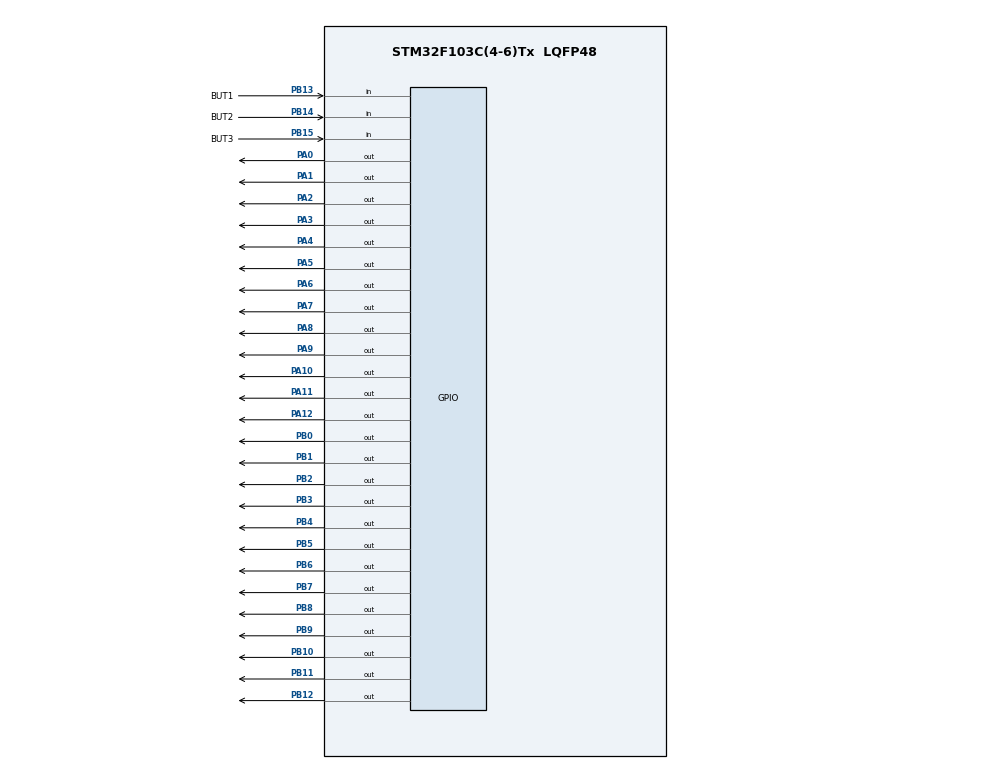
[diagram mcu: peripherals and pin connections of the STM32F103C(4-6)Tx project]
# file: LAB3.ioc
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Mcu.Family=STM32F1
Mcu.Name=STM32F103C(4-6)Tx
Mcu.Package=LQFP48
NVIC.PriorityGroup=NVIC_PRIORITYGROUP_4
NVIC.TIM2_IRQn=true\:0\:0\:false\:false\:true\:true\:true
PA0-WKUP.Signal=GPIO_Output
PA1.Signal=GPIO_Output
PA10.Signal=GPIO_Output
PA11.Signal=GPIO_Output
PA12.Signal=GPIO_Output
PA2.Signal=GPIO_Output
PA3.Signal=GPIO_Output
PA4.Signal=GPIO_Output
PA5.Signal=GPIO_Output
PA6.Signal=GPIO_Output
PA7.Signal=GPIO_Output
PA8.Signal=GPIO_Output
PA9.Signal=GPIO_Output
PB0.Signal=GPIO_Output
PB1.Signal=GPIO_Output
PB10.Signal=GPIO_Output
PB11.Signal=GPIO_Output
PB12.Signal=GPIO_Output
PB13.GPIO_Label=BUT1
PB13.GPIO_PuPd=GPIO_PULLUP
PB13.Signal=GPIO_Input
PB14.GPIO_Label=BUT2
PB14.GPIO_PuPd=GPIO_PULLUP
PB14.Signal=GPIO_Input
PB15.GPIO_Label=BUT3
PB15.GPIO_PuPd=GPIO_PULLUP
PB15.Signal=GPIO_Input
PB2.Signal=GPIO_Output
PB3.Signal=GPIO_Output
PB4.Signal=GPIO_Output
PB5.Signal=GPIO_Output
PB6.Signal=GPIO_Output
PB7.Signal=GPIO_Output
PB8.Signal=GPIO_Output
PB9.Signal=GPIO_Output
ProjectManager.HeapSize=0x200
ProjectManager.StackSize=0x400
ProjectManager.TargetToolchain=STM32CubeIDE
RCC.APB1Freq_Value=8000000
RCC.APB2Freq_Value=8000000
TIM2.Period=9
TIM2.Prescaler=7999
VP_SYS_VS_ND.Mode=No_Debug
VP_TIM2_VS_ClockSourceINT.Mode=Internal
board=custom

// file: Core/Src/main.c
/* USER CODE BEGIN Header */
/**
  ******************************************************************************
  * @file           : main.c
  * @brief          : Main program body
  ******************************************************************************
  */
/* USER CODE END Header */
#include "main.h"
#include "input_reading.h"
#include "input_processing.h"

/* USER CODE BEGIN PD */
/* All defines moved to main.h */
/* USER CODE END PD */

TIM_HandleTypeDef htim2;

/* USER CODE BEGIN PV */
// ---- FSM State Variables ----
extern enum ModeState mode_status; // Now managed by input_processing.c
enum AutoState auto_status = R1_GREEN_R2_RED;

// ---- Traffic Light Durations (in seconds) ----
int time_red = 5;
int time_amber = 2;
int time_green = 3;
extern int temp_duration; // Managed by input_processing.c

// ---- Countdown Timers ----
int timer_road1_countdown = 0;
int timer_road2_countdown = 0;

// ---- Software Timers (1 tick = 10ms from TIM2) ----
int fsm_timer_counter = 0;
int fsm_timer_flag = 0;
int second_timer_counter = 0;
int second_timer_flag = 0;
int blink_timer_counter = 0;
int blink_timer_flag = 0;
int auto_increment_timer_counter = 0;
int auto_increment_timer_flag = 0;

// ---- 7-Segment Display Variables ----
int led_buffer[4] = {0, 0, 0, 0};
int seg_digit_index = 0;

/* USER CODE END PV */

void SystemClock_Config(void);
static void MX_GPIO_Init(void);
static void MX_TIM2_Init(void);
/* USER CODE BEGIN PFP */

// Software Timer Functions
void set_second_timer(int duration_sec);
void set_auto_increment_timer(int duration_ms);
void timer_run(void);

// Display Functions
void updateTrafficLight(void);
void display7SEG(int num);
void update7SEG_Multiplexing(void);
void updateLED_Buffer_Normal(void);
void updateLED_Buffer_Modify(void);

// FSM Functions
void fsm_automatic_run(void);
/* USER CODE END PFP */

int main(void)
{

  /* MCU Configuration--------------------------------------------------------*/

  /* Reset of all peripherals, Initializes the Flash interface and the Systick. */
  HAL_Init();

  /* Configure the system clock */
  SystemClock_Config();

  /* Initialize all configured peripherals */
  MX_GPIO_Init();
  MX_TIM2_Init();
  /* USER CODE BEGIN 2 */
  HAL_TIM_Base_Start_IT(&htim2);

  // Initial state setup
  set_fsm_timer(time_green);
  set_second_timer(1);
  timer_road1_countdown = time_green;
  timer_road2_countdown = time_red;
  updateTrafficLight();
  /* USER CODE END 2 */

  /* Infinite loop */
  while (1)
  {

    /* USER CODE BEGIN 3 */
	  fsm_for_input_processing();

	  switch(mode_status){
	  case MODE1_NORMAL:
		  fsm_automatic_run();
		  break;
	  case MODE2_MOD_RED:
		  fsm_for_mode2_red_modify();
		  updateLED_Buffer_Modify();
          if(blink_timer_flag == 1){
              set_blink_timer(250); // 2Hz blink
              HAL_GPIO_TogglePin(TRAFFIC_PORT, RED1_Pin | RED2_Pin);
          }
		  break;
	  case MODE3_MOD_AMBER:
		  fsm_for_mode3_amber_modify();
		  updateLED_Buffer_Modify();
          if(blink_timer_flag == 1){
              set_blink_timer(250);
              HAL_GPIO_TogglePin(TRAFFIC_PORT, YEL1_Pin | YEL2_Pin);
          }
		  break;
	  case MODE4_MOD_GREEN:
		  fsm_for_mode4_green_modify();
		  updateLED_Buffer_Modify();
          if(blink_timer_flag == 1){
              set_blink_timer(250);
              HAL_GPIO_TogglePin(TRAFFIC_PORT, GRE1_Pin | GRE2_Pin);
          }
		  break;
	  }
  }
  /* USER CODE END 3 */
}

void SystemClock_Config(void)
{
  RCC_OscInitTypeDef RCC_OscInitStruct = {0};
  RCC_ClkInitTypeDef RCC_ClkInitStruct = {0};

  /** Initializes the RCC Oscillators according to the specified parameters
  * in the RCC_OscInitTypeDef structure.
  */
  RCC_OscInitStruct.OscillatorType = RCC_OSCILLATORTYPE_HSI;
  RCC_OscInitStruct.HSIState = RCC_HSI_ON;
  RCC_OscInitStruct.HSICalibrationValue = RCC_HSICALIBRATION_DEFAULT;
  RCC_OscInitStruct.PLL.PLLState = RCC_PLL_NONE;
  if (HAL_RCC_OscConfig(&RCC_OscInitStruct) != HAL_OK)
  {
    Error_Handler();
  }
  /** Initializes the CPU, AHB and APB buses clocks
  */
  RCC_ClkInitStruct.ClockType = RCC_CLOCKTYPE_HCLK|RCC_CLOCKTYPE_SYSCLK
                              |RCC_CLOCKTYPE_PCLK1|RCC_CLOCKTYPE_PCLK2;
  RCC_ClkInitStruct.SYSCLKSource = RCC_SYSCLKSOURCE_HSI;
  RCC_ClkInitStruct.AHBCLKDivider = RCC_SYSCLK_DIV1;
  RCC_ClkInitStruct.APB1CLKDivider = RCC_HCLK_DIV1;
  RCC_ClkInitStruct.APB2CLKDivider = RCC_HCLK_DIV1;

  if (HAL_RCC_ClockConfig(&RCC_ClkInitStruct, FLASH_LATENCY_0) != HAL_OK)
  {
    Error_Handler();
  }
}

static void MX_TIM2_Init(void)
{

  TIM_ClockConfigTypeDef sClockSourceConfig = {0};
  TIM_MasterConfigTypeDef sMasterConfig = {0};

  htim2.Instance = TIM2;
  htim2.Init.Prescaler = 7999;
  htim2.Init.CounterMode = TIM_COUNTERMODE_UP;
  htim2.Init.Period = 9;
  htim2.Init.ClockDivision = TIM_CLOCKDIVISION_DIV1;
  htim2.Init.AutoReloadPreload = TIM_AUTORELOAD_PRELOAD_DISABLE;
  if (HAL_TIM_Base_Init(&htim2) != HAL_OK)
  {
    Error_Handler();
  }
  sClockSourceConfig.ClockSource = TIM_CLOCKSOURCE_INTERNAL;
  if (HAL_TIM_ConfigClockSource(&htim2, &sClockSourceConfig) != HAL_OK)
  {
    Error_Handler();
  }
  sMasterConfig.MasterOutputTrigger = TIM_TRGO_RESET;
  sMasterConfig.MasterSlaveMode = TIM_MASTERSLAVEMODE_DISABLE;
  if (HAL_TIMEx_MasterConfigSynchronization(&htim2, &sMasterConfig) != HAL_OK)
  {
    Error_Handler();
  }

}

static void MX_GPIO_Init(void)
{
  GPIO_InitTypeDef GPIO_InitStruct = {0};

  /* GPIO Ports Clock Enable */
  __HAL_RCC_GPIOA_CLK_ENABLE();
  __HAL_RCC_GPIOB_CLK_ENABLE();

  /*Configure GPIO pin Output Level */
  HAL_GPIO_WritePin(GPIOA, GPIO_PIN_0|GPIO_PIN_1|GPIO_PIN_2|GPIO_PIN_3
                          |GPIO_PIN_4|GPIO_PIN_5|GPIO_PIN_6|GPIO_PIN_7
                          |GPIO_PIN_8|GPIO_PIN_9|GPIO_PIN_10|GPIO_PIN_11
                          |GPIO_PIN_12, GPIO_PIN_RESET);

  /*Configure GPIO pin Output Level */
  HAL_GPIO_WritePin(GPIOB, GPIO_PIN_0|GPIO_PIN_1|GPIO_PIN_2|GPIO_PIN_10
                          |GPIO_PIN_11|GPIO_PIN_12|GPIO_PIN_3|GPIO_PIN_4
                          |GPIO_PIN_5|GPIO_PIN_6|GPIO_PIN_7|GPIO_PIN_8
                          |GPIO_PIN_9, GPIO_PIN_RESET);

  /*Configure GPIO pins : PA0 PA1 PA2 PA3
                           PA4 PA5 PA6 PA7
                           PA8 PA9 PA10 PA11
                           PA12 */
  GPIO_InitStruct.Pin = GPIO_PIN_0|GPIO_PIN_1|GPIO_PIN_2|GPIO_PIN_3
                          |GPIO_PIN_4|GPIO_PIN_5|GPIO_PIN_6|GPIO_PIN_7
                          |GPIO_PIN_8|GPIO_PIN_9|GPIO_PIN_10|GPIO_PIN_11
                          |GPIO_PIN_12;
  GPIO_InitStruct.Mode = GPIO_MODE_OUTPUT_PP;
  GPIO_InitStruct.Pull = GPIO_NOPULL;
  GPIO_InitStruct.Speed = GPIO_SPEED_FREQ_LOW;
  HAL_GPIO_Init(GPIOA, &GPIO_InitStruct);

  /*Configure GPIO pins : PB0 PB1 PB2 PB10
                           PB11 PB12 PB3 PB4
                           PB5 PB6 PB7 PB8
                           PB9 */
  GPIO_InitStruct.Pin = GPIO_PIN_0|GPIO_PIN_1|GPIO_PIN_2|GPIO_PIN_10
                          |GPIO_PIN_11|GPIO_PIN_12|GPIO_PIN_3|GPIO_PIN_4
                          |GPIO_PIN_5|GPIO_PIN_6|GPIO_PIN_7|GPIO_PIN_8
                          |GPIO_PIN_9;
  GPIO_InitStruct.Mode = GPIO_MODE_OUTPUT_PP;
  GPIO_InitStruct.Pull = GPIO_NOPULL;
  GPIO_InitStruct.Speed = GPIO_SPEED_FREQ_LOW;
  HAL_GPIO_Init(GPIOB, &GPIO_InitStruct);

  /*Configure GPIO pins : BUT1_Pin BUT2_Pin BUT3_Pin */
  GPIO_InitStruct.Pin = BUT1_Pin|BUT2_Pin|BUT3_Pin;
  GPIO_InitStruct.Mode = GPIO_MODE_INPUT;
  GPIO_InitStruct.Pull = GPIO_PULLUP;
  HAL_GPIO_Init(GPIOB, &GPIO_InitStruct);

}

/* USER CODE BEGIN 4 */

// ---- Software Timer Implementation ----
void set_fsm_timer(int duration_sec) {
    fsm_timer_counter = duration_sec * 100;
    fsm_timer_flag = 0;
}
void set_second_timer(int duration_sec) {
    second_timer_counter = duration_sec * 100;
    second_timer_flag = 0;
}
void set_blink_timer(int duration_ms) {
    blink_timer_counter = duration_ms / 10;
    blink_timer_flag = 0;
}
void set_auto_increment_timer(int duration_ms) {
    auto_increment_timer_counter = duration_ms / 10;
    auto_increment_timer_flag = 0;
}

void timer_run(){
    if(fsm_timer_counter > 0){
        fsm_timer_counter--;
        if(fsm_timer_counter <= 0) fsm_timer_flag = 1;
    }
    if(second_timer_counter > 0){
        second_timer_counter--;
        if(second_timer_counter <= 0) second_timer_flag = 1;
    }
    if(blink_timer_counter > 0){
        blink_timer_counter--;
        if(blink_timer_counter <= 0) blink_timer_flag = 1;
    }
    if(auto_increment_timer_counter > 0){
        auto_increment_timer_counter--;
        if(auto_increment_timer_counter <= 0) auto_increment_timer_flag = 1;
    }
}

// ---- Display Control Implementation ----
void clearAllTrafficLEDs(void) {
    HAL_GPIO_WritePin(TRAFFIC_PORT, ALL_TRAFFIC_LIGHT_PINS, GPIO_PIN_SET);
}
void updateTrafficLight(void) {
    // This function is only for normal mode
    clearAllTrafficLEDs();
    switch(auto_status) {
        case R1_GREEN_R2_RED:
            HAL_GPIO_WritePin(TRAFFIC_PORT, GRE1_Pin|RED2_Pin, GPIO_PIN_RESET);
            break;
        case R1_AMBER_R2_RED:
            HAL_GPIO_WritePin(TRAFFIC_PORT, YEL1_Pin|RED2_Pin, GPIO_PIN_RESET);
            break;
        case R1_RED_R2_GREEN:
            HAL_GPIO_WritePin(TRAFFIC_PORT, RED1_Pin|GRE2_Pin, GPIO_PIN_RESET);
            break;
        case R1_RED_R2_AMBER:
            HAL_GPIO_WritePin(TRAFFIC_PORT, RED1_Pin|YEL2_Pin, GPIO_PIN_RESET);
            break;
    }
}
void display7SEG(int num) {
    char segment_code[10] = {0x3F, 0x06, 0x5B, 0x4F, 0x66, 0x6D, 0x7D, 0x07, 0x7F, 0x6F};
    // Turn all segments off first
    HAL_GPIO_WritePin(SEG_PORT, ALL_SEGMENT_PINS, GPIO_PIN_SET);
    // Turn on the required segments
    for(int i = 0; i < 7; i++) {
        if((segment_code[num % 10] >> i) & 1) {
            HAL_GPIO_WritePin(SEG_PORT, 1 << i, GPIO_PIN_RESET);
        }
    }
}
void update7SEG_Multiplexing(void) {
    // Turn all enables off
    HAL_GPIO_WritePin(EN_PORT, EN1_Pin|EN2_Pin|EN3_Pin|EN4_Pin, GPIO_PIN_SET);
    // Display the digit for the current index
    display7SEG(led_buffer[seg_digit_index]);
    // Turn on the corresponding enable pin
    switch(seg_digit_index){
        case 0: HAL_GPIO_WritePin(EN_PORT, EN1_Pin, GPIO_PIN_RESET); break;
        case 1: HAL_GPIO_WritePin(EN_PORT, EN2_Pin, GPIO_PIN_RESET); break;
        case 2: HAL_GPIO_WritePin(EN_PORT, EN3_Pin, GPIO_PIN_RESET); break;
        case 3: HAL_GPIO_WritePin(EN_PORT, EN4_Pin, GPIO_PIN_RESET); break;
    }
    // Move to the next digit
    seg_digit_index = (seg_digit_index + 1) % 4;
}
void updateLED_Buffer_Normal(void){
    led_buffer[0] = timer_road1_countdown / 10;
    led_buffer[1] = timer_road1_countdown % 10;
    led_buffer[2] = timer_road2_countdown / 10;
    led_buffer[3] = timer_road2_countdown % 10;
}
void updateLED_Buffer_Modify(void){
    // 2 LED Äáº§u tiÃªn hiá»n thá» CHáº¾ Ä?á» hiá»n táº¡i (vÃ­ dá»¥: 02, 03, 04)
    led_buffer[0] = 0;
    led_buffer[1] = mode_status +1;

    // 2 LED cÃ²n láº¡i hiá»n thá» GIÃ? TRá» thá»?i gian Äang chá»nh (vÃ­ dá»¥: 12, 54)
    led_buffer[2] = temp_duration / 10;
    led_buffer[3] = temp_duration % 10;
}

// ---- FSM for Automatic Traffic Light Cycle (Normal Mode) ----
void fsm_automatic_run(void) {
    // This logic runs ONCE per second to decrement the countdown
    if (second_timer_flag == 1) {
        set_second_timer(1);
        timer_road1_countdown--;
        timer_road2_countdown--;
        if (timer_road1_countdown < 0)
            timer_road1_countdown = 0;
        if (timer_road2_countdown < 0)
            timer_road2_countdown = 0;
   }

    // This logic runs ONCE when the light state changes
    if (fsm_timer_flag == 1) {
        fsm_timer_flag = 0;
        switch (auto_status) {
            case R1_GREEN_R2_RED:
                auto_status = R1_AMBER_R2_RED;
                set_fsm_timer(time_amber);
                // Reload values for the new state
                timer_road1_countdown = time_amber;
                timer_road2_countdown = time_red - time_green;
                break;
            case R1_AMBER_R2_RED:
                auto_status = R1_RED_R2_GREEN;
                set_fsm_timer(time_green);
                timer_road1_countdown = time_red;
                timer_road2_countdown = time_green;
                break;
            case R1_RED_R2_GREEN:
                auto_status = R1_RED_R2_AMBER;
                set_fsm_timer(time_amber);
                timer_road1_countdown = time_red - time_green;
                timer_road2_countdown = time_amber;
                break;
            case R1_RED_R2_AMBER:
                auto_status = R1_GREEN_R2_RED;
                set_fsm_timer(time_green);
                timer_road1_countdown = time_green;
                timer_road2_countdown = time_red;
                break;
       }
       updateTrafficLight(); // Update the physical LEDs
   }
   // Always update the buffer for the 7-segment display
    updateLED_Buffer_Normal();
}

// ---- Timer Interrupt Callback ----
void HAL_TIM_PeriodElapsedCallback(TIM_HandleTypeDef *htim){
    if(htim->Instance == TIM2){
        timer_run();
        button_reading();
        // Use a divider to slow down the scan rate but keep it fast enough for the human eye
        static int scan_counter = 0;
        scan_counter++;
        if (scan_counter >= 10) {
           update7SEG_Multiplexing();
           scan_counter = 0;
        }
    }
}
/* USER CODE END 4 */

void Error_Handler(void)
{
  __disable_irq();
  while (1)
  {
  }
}

/************************ (C) COPYRIGHT STMicroelectronics *****END OF FILE****/
